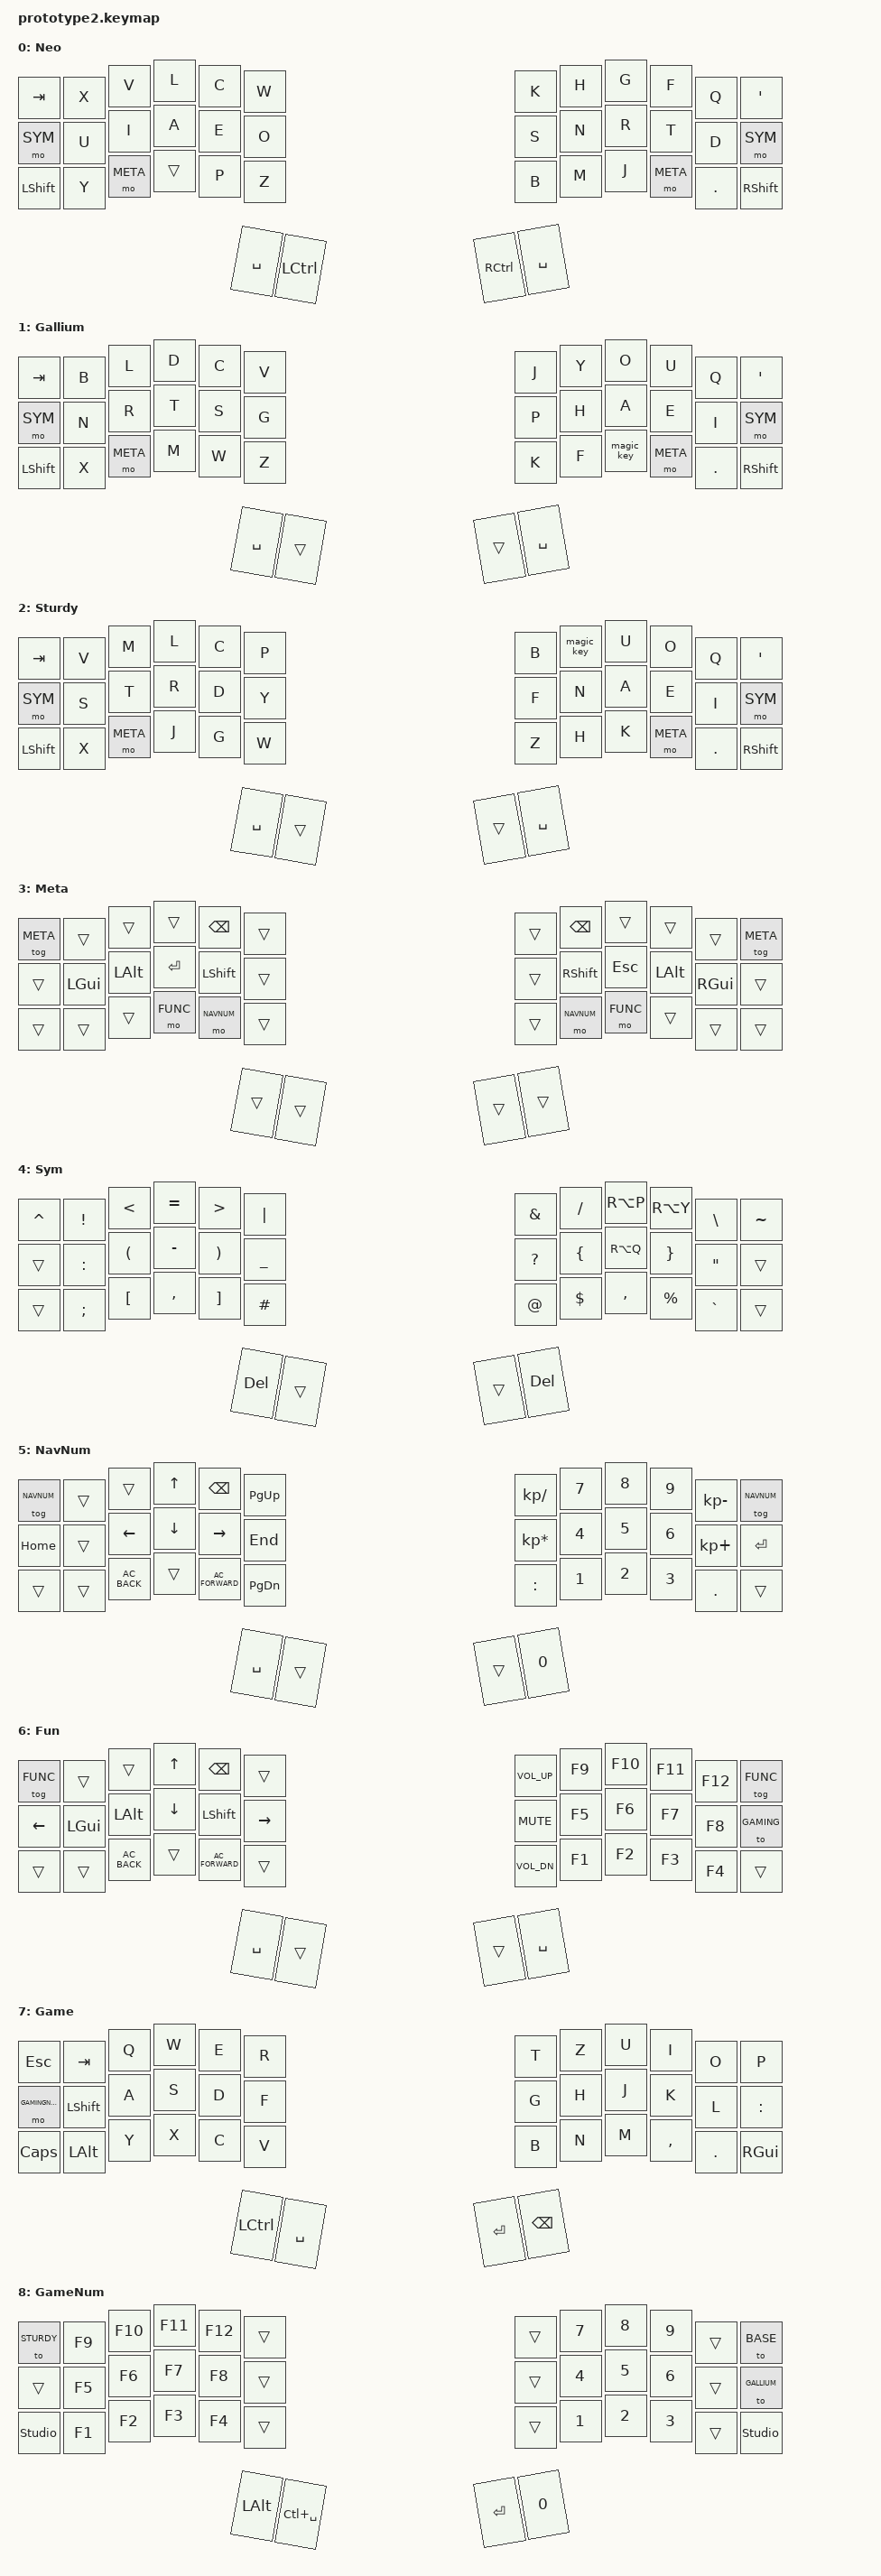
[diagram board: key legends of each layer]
/*
 * Copyright (c) 2020 The ZMK Contributors
 *
 * SPDX-License-Identifier: MIT
 */

#include <behaviors.dtsi>
#include <dt-bindings/zmk/bt.h>
#include <dt-bindings/zmk/keys.h>
#include <dt-bindings/zmk/outputs.h>
#include <dt-bindings/zmk/pointing.h>

#define BASE 0
#define GALLIUM 1
#define STURDY 2
#define META 3
#define SYM 4
#define NAVNUM 5
#define FUNC 6
#define GAMING 7
#define GAMINGNUM 8

#include "includes/mods.dtsi"

/ {
    keymap {
        compatible = "zmk,keymap";
        base_layer {
            label = "Neo";
            bindings = <
    &kp TAB             &kp X               &kp V               &kp L               &kp C               &kp W                                   &kp K               &kp H               &kp G               &kp F               &kp Q               &kp SQT
    &mo SYM             &kp U               &kp I               &kp A               &kp E               &kp O                                   &kp S               &kp N               &kp R               &kp T               &kp D               &mo SYM
    &kp LSHFT           &kp Y               &mo META            &trans              &kp P               &kp Z                                   &kp B               &kp M               &kp J               &mo META            &kp DOT             &kp RSHFT
                                                                                    &kp SPC             &kp LCTRL                               &kp RCTRL           &kp SPC
            >;
        };

        gallium_layer {
            label = "Gallium";
            bindings = <
    &kp TAB             &kp B               &kp L               &kp D               &kp C               &kp V                                   &kp J               &kp Y               &kp O               &kp U               &kp Q               &kp SQT
    &mo SYM             &kp N               &kp R               &kp T               &kp S               &kp G                                   &kp P               &kp H               &kp A               &kp E               &kp I               &mo SYM
    &kp LSHFT           &kp X               &mo META            &kp M               &kp W               &kp Z                                   &kp K               &kp F               &magic_key          &mo META            &kp DOT             &kp RSHFT
                                                                                    &kp SPC             &trans                                  &trans              &kp SPC
            >;
        };

        sturdy_layer {
            label = "Sturdy";
            bindings = <
    &kp TAB             &kp V               &kp M               &kp L               &kp C               &kp P                                   &kp B               &magic_key          &kp U               &kp O               &kp Q               &kp SQT
    &mo SYM             &kp S               &kp T               &kp R               &kp D               &kp Y                                   &kp F               &kp N               &kp A               &kp E               &kp I               &mo SYM
    &kp LSHFT           &kp X               &mo META            &kp J               &kp G               &kp W                                   &kp Z               &kp H               &kp K               &mo META            &kp DOT             &kp RSHFT
                                                                                    &kp SPC             &trans                                  &trans              &kp SPC
            >;
        };

        meta_layer {
            label = "Meta";
            bindings = <
    &tog META           &trans              &trans              &trans              &kp BKSP            &trans                                  &trans              &kp BKSP            &trans              &trans              &trans              &tog META
    &trans              &kp LGUI            &kp LALT            &kp RET             &kp LSHFT           &trans                                  &trans              &kp RSHFT           &kp ESC             &kp LALT            &kp RGUI            &trans
    &trans              &trans              &trans              &mo FUNC            &mo NAVNUM          &trans                                  &trans              &mo NAVNUM          &mo FUNC            &trans              &trans              &trans
                                                                                    &trans              &trans                                  &trans              &trans
	        >;
        };

        symbols_layer {
            label = "Sym";
            bindings = <
    &kp CARET           &kp EXCL            &kp LT              &kp EQUAL           &kp GT              &kp PIPE                                &kp AMPS            &kp FSLH            &kp RA(P)           &kp RA(Y)           &kp BSLH            &kp TILDE
    &trans              &kp COLON           &kp LPAR            &kp MINUS           &kp RPAR            &kp UNDER                               &kp QMARK           &kp LBRC            &kp RA(Q)           &kp RBRC            &kp DQT             &trans
    &trans              &kp SEMI            &kp LBKT            &kp COMMA           &kp RBKT            &kp HASH                                &kp AT              &kp DLLR            &kp COMMA           &kp PRCNT           &kp GRAVE           &trans
                                                                                    &kp DEL             &trans                                  &trans              &kp DEL
            >;
        };

        navnum_layer {
            label = "NavNum";
            bindings = <
    &tog NAVNUM         &trans              &trans              &kp UP              &kp BKSP            &kp PG_UP                               &kp KP_DIVIDE       &kp N7              &kp N8              &kp N9              &kp KP_MINUS        &tog NAVNUM
    &kp HOME            &trans              &kp LEFT            &kp DOWN            &kp RIGHT           &kp END                                 &kp KP_MULTIPLY     &kp N4              &kp N5              &kp N6              &kp KP_PLUS         &kp RET
    &trans              &trans              &kp C_AC_BACK       &trans              &kp C_AC_FORWARD    &kp PG_DN                               &kp COLON           &kp N1              &kp N2              &kp N3              &kp DOT             &trans
                                                                                    &kp SPC             &trans                                  &trans              &kp N0
	        >;
        };

        functions_layer {
            label = "Fun";
            bindings = <
    &tog FUNC           &trans              &trans              &kp UP              &kp BKSP            &trans                                  &kp C_VOL_UP        &kp F9              &kp F10             &kp F11             &kp F12             &tog FUNC
    &kp LEFT            &kp LGUI            &kp LALT            &kp DOWN            &kp LSHFT           &kp RIGHT                               &kp C_MUTE          &kp F5              &kp F6              &kp F7              &kp F8              &to GAMING
    &trans              &trans              &kp C_AC_BACK       &trans              &kp C_AC_FORWARD    &trans                                  &kp C_VOL_DN        &kp F1              &kp F2              &kp F3              &kp F4              &trans
                                                                                    &kp SPC             &trans                                  &trans              &kp SPC
            >;
        };

        gaming_layer {
            label = "Game";
            bindings = <
    &kp ESC             &kp TAB             &kp Q               &kp W               &kp E               &kp R                                   &kp T               &kp Z               &kp U               &kp I               &kp O               &kp P
    &mo GAMINGNUM       &kp LSHFT           &kp A               &kp S               &kp D               &kp F                                   &kp G               &kp H               &kp J               &kp K               &kp L               &kp COLON
    &kp CAPSLOCK        &kp LALT            &kp Y               &kp X               &kp C               &kp V                                   &kp B               &kp N               &kp M               &kp COMMA           &kp DOT             &kp RGUI
                                                                                    &kp LCTRL           &kp SPC                                 &kp RET             &kp BKSP
            >;
        };

        gaming_number_layer {
            label = "GameNum";
            bindings = <
    &to STURDY          &kp F9              &kp F10             &kp F11             &kp F12             &trans                                  &trans              &kp N7              &kp N8              &kp N9              &trans              &to BASE
    &trans              &kp F5              &kp F6              &kp F7              &kp F8              &trans                                  &trans              &kp N4              &kp N5              &kp N6              &trans              &to GALLIUM
    &studio_unlock      &kp F1              &kp F2              &kp F3              &kp F4              &trans                                  &trans              &kp N1              &kp N2              &kp N3              &trans              &studio_unlock
                                                                                    &kp LALT            &kp LC(SPACE)                           &kp RET             &kp N0
            >;
        };
	};
};
